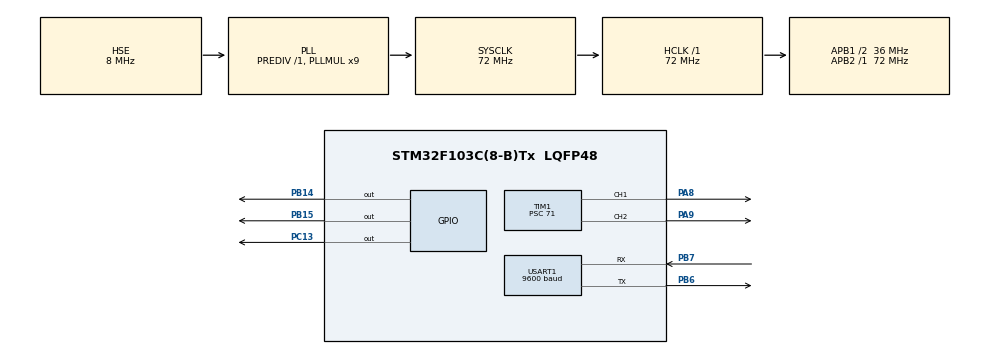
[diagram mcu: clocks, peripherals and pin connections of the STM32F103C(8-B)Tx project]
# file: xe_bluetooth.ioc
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Mcu.Family=STM32F1
Mcu.Name=STM32F103C(8-B)Tx
Mcu.Package=LQFP48
NVIC.PriorityGroup=NVIC_PRIORITYGROUP_4
NVIC.USART1_IRQn=true\:1\:0\:true\:false\:true\:true\:true\:true
PA13.Mode=Serial_Wire
PA13.Signal=SYS_JTMS-SWDIO
PA14.Mode=Serial_Wire
PA14.Signal=SYS_JTCK-SWCLK
PA8.Signal=S_TIM1_CH1
PA9.Signal=S_TIM1_CH2
PB14.Signal=GPIO_Output
PB15.Signal=GPIO_Output
PB6.Mode=Asynchronous
PB6.Signal=USART1_TX
PB7.Mode=Asynchronous
PB7.Signal=USART1_RX
PC13-TAMPER-RTC.Signal=GPIO_Output
PD0-OSC_IN.Mode=HSE-External-Oscillator
PD0-OSC_IN.Signal=RCC_OSC_IN
PD1-OSC_OUT.Mode=HSE-External-Oscillator
PD1-OSC_OUT.Signal=RCC_OSC_OUT
ProjectManager.HeapSize=0x200
ProjectManager.StackSize=0x400
ProjectManager.TargetToolchain=MDK-ARM V5.32
RCC.AHBFreq_Value=72000000
RCC.APB1CLKDivider=RCC_HCLK_DIV2
RCC.APB1Freq_Value=36000000
RCC.APB1TimFreq_Value=72000000
RCC.APB2Freq_Value=72000000
RCC.APB2TimFreq_Value=72000000
RCC.HCLKFreq_Value=72000000
RCC.PLLMUL=RCC_PLL_MUL9
RCC.PLLSourceVirtual=RCC_PLLSOURCE_HSE
RCC.SYSCLKFreq_VALUE=72000000
RCC.SYSCLKSource=RCC_SYSCLKSOURCE_PLLCLK
RCC.USBFreq_Value=72000000
SH.S_TIM1_CH1.0=TIM1_CH1,PWM Generation1 CH1
SH.S_TIM1_CH2.0=TIM1_CH2,PWM Generation2 CH2
TIM1.Channel-PWM\ Generation1\ CH1=TIM_CHANNEL_1
TIM1.Channel-PWM\ Generation2\ CH2=TIM_CHANNEL_2
TIM1.Period=999
TIM1.Prescaler=71
USART1.BaudRate=9600
USART1.VirtualMode=VM_ASYNC
VP_TIM1_VS_ClockSourceINT.Mode=Internal
board=custom

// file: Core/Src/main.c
/* USER CODE BEGIN Header */
/**
  ******************************************************************************
  * @file           : main.c
  * @brief          : Main program body
  ******************************************************************************
  * @attention
  *
  * Copyright (c) 2024 STMicroelectronics.
  * All rights reserved.
  *
  * This software is licensed under terms that can be found in the LICENSE file
  * in the root directory of this software component.
  * If no LICENSE file comes with this software, it is provided AS-IS.
  *
  ******************************************************************************
  */
/* USER CODE END Header */
#include "main.h"

/* USER CODE BEGIN Includes */
#include "car_control.h"
/* USER CODE END Includes */

TIM_HandleTypeDef htim1;

UART_HandleTypeDef huart1;

void SystemClock_Config(void);
static void MX_GPIO_Init(void);
static void MX_TIM1_Init(void);
static void MX_USART1_UART_Init(void);

/* USER CODE BEGIN 0 */
uint8_t rx;
uint8_t flag = 0;
uint8_t car_speed = 100;//Toc do ban dau la 100%
uint8_t active = 1;

void HAL_UART_RxCpltCallback(UART_HandleTypeDef *huart)
{
	if (huart->Instance == huart1.Instance )//So sanh neu xay ra ngat o uart1
	{
		flag = 1;
		//Kiem tra co enable xe khong bang cach check rx
		if (rx == 'W')
		{
			active = 1;//Enable xe
		}
		else if (rx == 'w')
		{
			active = 0;//Disable xe
		}
		HAL_UART_Receive_IT(&huart1, &rx, 1);
	}
}
/* USER CODE END 0 */

int main(void)
{

  /* MCU Configuration--------------------------------------------------------*/

  /* Reset of all peripherals, Initializes the Flash interface and the Systick. */
  HAL_Init();

  /* Configure the system clock */
  SystemClock_Config();

  /* Initialize all configured peripherals */
  MX_GPIO_Init();
  MX_TIM1_Init();
  MX_USART1_UART_Init();
  /* USER CODE BEGIN 2 */
	car_init(&htim1);
	HAL_UART_Receive_IT(&huart1, &rx, 1);
  /* USER CODE END 2 */

  /* Infinite loop */
  /* USER CODE BEGIN WHILE */
  while (1)
  {
		HAL_GPIO_TogglePin (GPIOA, GPIO_PIN_13);
		if (flag)
		{
			if (active ==1)
			{
				switch (rx)
				{
					case 'S':
						car_handle(CAR_STOP, 0);
						break;
					case 'F':
						car_handle(CAR_FORWARD, car_speed);
						break;
					case 'B':
						car_handle(CAR_BACKWARD, car_speed);
						break;
					case 'L':
						car_handle(CAR_LEFT, car_speed);
						break;
					case 'R':
						car_handle(CAR_RIGHT, car_speed);
						break;
					case 'G':
						car_handle(CAR_FORWARD_LEFT, car_speed);
						break;
					case 'I':
						car_handle(CAR_FORWARD_RIGHT, car_speed);
						break;
					case 'H':
						car_handle(CAR_BACKWARD_LEFT, car_speed);
						break;
					case 'J':
						car_handle(CAR_BACKWARD_RIGHT, car_speed);
						break;
					default:
						if (rx >= '0' && rx <= '9')
						{
							car_speed = (rx - '0')*10;
						}
						else if (rx == 'q')
						{
							car_speed = 100;
						}
						break;
				}
			}
			else if (active == 0)
			{
			}
			flag = 0;
		}
    /* USER CODE END WHILE */

  }
}

void SystemClock_Config(void)
{
  RCC_OscInitTypeDef RCC_OscInitStruct = {0};
  RCC_ClkInitTypeDef RCC_ClkInitStruct = {0};

  /** Initializes the RCC Oscillators according to the specified parameters
  * in the RCC_OscInitTypeDef structure.
  */
  RCC_OscInitStruct.OscillatorType = RCC_OSCILLATORTYPE_HSE;
  RCC_OscInitStruct.HSEState = RCC_HSE_ON;
  RCC_OscInitStruct.HSEPredivValue = RCC_HSE_PREDIV_DIV1;
  RCC_OscInitStruct.HSIState = RCC_HSI_ON;
  RCC_OscInitStruct.PLL.PLLState = RCC_PLL_ON;
  RCC_OscInitStruct.PLL.PLLSource = RCC_PLLSOURCE_HSE;
  RCC_OscInitStruct.PLL.PLLMUL = RCC_PLL_MUL9;
  if (HAL_RCC_OscConfig(&RCC_OscInitStruct) != HAL_OK)
  {
    Error_Handler();
  }

  /** Initializes the CPU, AHB and APB buses clocks
  */
  RCC_ClkInitStruct.ClockType = RCC_CLOCKTYPE_HCLK|RCC_CLOCKTYPE_SYSCLK
                              |RCC_CLOCKTYPE_PCLK1|RCC_CLOCKTYPE_PCLK2;
  RCC_ClkInitStruct.SYSCLKSource = RCC_SYSCLKSOURCE_PLLCLK;
  RCC_ClkInitStruct.AHBCLKDivider = RCC_SYSCLK_DIV1;
  RCC_ClkInitStruct.APB1CLKDivider = RCC_HCLK_DIV2;
  RCC_ClkInitStruct.APB2CLKDivider = RCC_HCLK_DIV1;

  if (HAL_RCC_ClockConfig(&RCC_ClkInitStruct, FLASH_LATENCY_2) != HAL_OK)
  {
    Error_Handler();
  }
}

static void MX_TIM1_Init(void)
{

  TIM_ClockConfigTypeDef sClockSourceConfig = {0};
  TIM_MasterConfigTypeDef sMasterConfig = {0};
  TIM_OC_InitTypeDef sConfigOC = {0};
  TIM_BreakDeadTimeConfigTypeDef sBreakDeadTimeConfig = {0};

  htim1.Instance = TIM1;
  htim1.Init.Prescaler = 71;
  htim1.Init.CounterMode = TIM_COUNTERMODE_UP;
  htim1.Init.Period = 999;
  htim1.Init.ClockDivision = TIM_CLOCKDIVISION_DIV1;
  htim1.Init.RepetitionCounter = 0;
  htim1.Init.AutoReloadPreload = TIM_AUTORELOAD_PRELOAD_DISABLE;
  if (HAL_TIM_Base_Init(&htim1) != HAL_OK)
  {
    Error_Handler();
  }
  sClockSourceConfig.ClockSource = TIM_CLOCKSOURCE_INTERNAL;
  if (HAL_TIM_ConfigClockSource(&htim1, &sClockSourceConfig) != HAL_OK)
  {
    Error_Handler();
  }
  if (HAL_TIM_PWM_Init(&htim1) != HAL_OK)
  {
    Error_Handler();
  }
  sMasterConfig.MasterOutputTrigger = TIM_TRGO_RESET;
  sMasterConfig.MasterSlaveMode = TIM_MASTERSLAVEMODE_DISABLE;
  if (HAL_TIMEx_MasterConfigSynchronization(&htim1, &sMasterConfig) != HAL_OK)
  {
    Error_Handler();
  }
  sConfigOC.OCMode = TIM_OCMODE_PWM1;
  sConfigOC.Pulse = 0;
  sConfigOC.OCPolarity = TIM_OCPOLARITY_HIGH;
  sConfigOC.OCNPolarity = TIM_OCNPOLARITY_HIGH;
  sConfigOC.OCFastMode = TIM_OCFAST_DISABLE;
  sConfigOC.OCIdleState = TIM_OCIDLESTATE_RESET;
  sConfigOC.OCNIdleState = TIM_OCNIDLESTATE_RESET;
  if (HAL_TIM_PWM_ConfigChannel(&htim1, &sConfigOC, TIM_CHANNEL_1) != HAL_OK)
  {
    Error_Handler();
  }
  if (HAL_TIM_PWM_ConfigChannel(&htim1, &sConfigOC, TIM_CHANNEL_2) != HAL_OK)
  {
    Error_Handler();
  }
  sBreakDeadTimeConfig.OffStateRunMode = TIM_OSSR_DISABLE;
  sBreakDeadTimeConfig.OffStateIDLEMode = TIM_OSSI_DISABLE;
  sBreakDeadTimeConfig.LockLevel = TIM_LOCKLEVEL_OFF;
  sBreakDeadTimeConfig.DeadTime = 0;
  sBreakDeadTimeConfig.BreakState = TIM_BREAK_DISABLE;
  sBreakDeadTimeConfig.BreakPolarity = TIM_BREAKPOLARITY_HIGH;
  sBreakDeadTimeConfig.AutomaticOutput = TIM_AUTOMATICOUTPUT_DISABLE;
  if (HAL_TIMEx_ConfigBreakDeadTime(&htim1, &sBreakDeadTimeConfig) != HAL_OK)
  {
    Error_Handler();
  }
  HAL_TIM_MspPostInit(&htim1);

}

static void MX_USART1_UART_Init(void)
{

  huart1.Instance = USART1;
  huart1.Init.BaudRate = 9600;
  huart1.Init.WordLength = UART_WORDLENGTH_8B;
  huart1.Init.StopBits = UART_STOPBITS_1;
  huart1.Init.Parity = UART_PARITY_NONE;
  huart1.Init.Mode = UART_MODE_TX_RX;
  huart1.Init.HwFlowCtl = UART_HWCONTROL_NONE;
  huart1.Init.OverSampling = UART_OVERSAMPLING_16;
  if (HAL_UART_Init(&huart1) != HAL_OK)
  {
    Error_Handler();
  }

}

static void MX_GPIO_Init(void)
{
  GPIO_InitTypeDef GPIO_InitStruct = {0};

  /* GPIO Ports Clock Enable */
  __HAL_RCC_GPIOC_CLK_ENABLE();
  __HAL_RCC_GPIOD_CLK_ENABLE();
  __HAL_RCC_GPIOB_CLK_ENABLE();
  __HAL_RCC_GPIOA_CLK_ENABLE();

  /*Configure GPIO pin Output Level */
  HAL_GPIO_WritePin(GPIOC, GPIO_PIN_13, GPIO_PIN_RESET);

  /*Configure GPIO pin Output Level */
  HAL_GPIO_WritePin(GPIOB, GPIO_PIN_14|GPIO_PIN_15, GPIO_PIN_RESET);

  /*Configure GPIO pin : PC13 */
  GPIO_InitStruct.Pin = GPIO_PIN_13;
  GPIO_InitStruct.Mode = GPIO_MODE_OUTPUT_PP;
  GPIO_InitStruct.Pull = GPIO_NOPULL;
  GPIO_InitStruct.Speed = GPIO_SPEED_FREQ_LOW;
  HAL_GPIO_Init(GPIOC, &GPIO_InitStruct);

  /*Configure GPIO pins : PB14 PB15 */
  GPIO_InitStruct.Pin = GPIO_PIN_14|GPIO_PIN_15;
  GPIO_InitStruct.Mode = GPIO_MODE_OUTPUT_PP;
  GPIO_InitStruct.Pull = GPIO_NOPULL;
  GPIO_InitStruct.Speed = GPIO_SPEED_FREQ_LOW;
  HAL_GPIO_Init(GPIOB, &GPIO_InitStruct);

}

void Error_Handler(void)
{
  __disable_irq();
  while (1)
  {
  }
}
